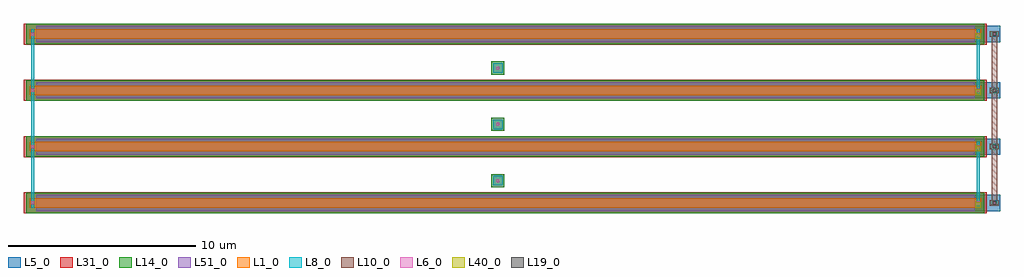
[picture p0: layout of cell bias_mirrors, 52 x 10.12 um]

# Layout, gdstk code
import gdstk
lib = gdstk.Library(unit=1e-6, precision=1e-09)
def R(c, l, rs):  # rectangles x0, y0, x1, y1
    for r in rs: c.add(gdstk.rectangle(r[:2], r[2:], *l))
def A(c, l, x, y, w, h, nx, ny, dx, dy):  # array of equal rectangles
    R(c, l, [(x+i*dx, y+j*dy, x+i*dx+w, y+j*dy+h) for i in range(nx) for j in range(ny)])
L1_0 = (1, 0)
L5_0 = (5, 0)
L6_0 = (6, 0)
L8_0 = (8, 0)
L10_0 = (10, 0)
L14_0 = (14, 0)
L19_0 = (19, 0)
L31_0 = (31, 0)
L40_0 = (40, 0)
L51_0 = (51, 0)

pmos_6_pm3 = lib.new_cell('pmos$6_PM3')
R(pmos_6_pm3, L1_0, [(0,0,0.3,0.3), (0,0,50.68,0.5), (50.38,0,50.68,0.3)])
R(pmos_6_pm3, L5_0, [(0.34,-0.18,50.34,0.68), (0.34,-0.18,50.34,0.68)])
R(pmos_6_pm3, L6_0, [(0.07,0.17,0.23,0.33), (50.45,0.17,50.61,0.33)])
R(pmos_6_pm3, L8_0, [(0.07,0,0.23,0.5), (0.07,0,0.23,0.5), (50.45,0,50.61,0.5), (50.45,0,50.61,0.5)])
R(pmos_6_pm3, L14_0, [(-0.18,-0.3,50.86,0.8)])
R(pmos_6_pm3, L31_0, [(-0.31,-0.31,50.99,0.81)])
R(pmos_6_pm3, L40_0, [(50.38,0,50.68,0.3)])
R(pmos_6_pm3, L51_0, [(0.34,-0.18,50.34,0.68)])
pmos_6_pm3.add(gdstk.Label('pmos', (25.34,0.25), layer=63, texttype=0))
pmos_6_pm3.add(gdstk.Label('pmos', (25.34,0.25), layer=51, texttype=0))

pmos_6_pm4 = lib.new_cell('pmos$6_PM4')
R(pmos_6_pm4, L1_0, [(0,0,0.3,0.3), (0,0,50.68,0.5), (50.38,0,50.68,0.3)])
R(pmos_6_pm4, L5_0, [(0.34,-0.18,50.34,0.68), (0.34,-0.18,50.34,0.68)])
R(pmos_6_pm4, L6_0, [(0.07,0.17,0.23,0.33), (50.45,0.17,50.61,0.33)])
R(pmos_6_pm4, L8_0, [(0.07,0,0.23,0.5), (0.07,0,0.23,0.5), (50.45,0,50.61,0.5), (50.45,0,50.61,0.5)])
R(pmos_6_pm4, L14_0, [(-0.18,-0.3,50.86,0.8)])
R(pmos_6_pm4, L31_0, [(-0.31,-0.31,50.99,0.81)])
R(pmos_6_pm4, L40_0, [(50.38,0,50.68,0.3)])
R(pmos_6_pm4, L51_0, [(0.34,-0.18,50.34,0.68)])
pmos_6_pm4.add(gdstk.Label('pmos', (25.34,0.25), layer=63, texttype=0))
pmos_6_pm4.add(gdstk.Label('pmos', (25.34,0.25), layer=51, texttype=0))

pmos_6_pm5 = lib.new_cell('pmos$6_PM5')
R(pmos_6_pm5, L1_0, [(0,0,0.3,0.3), (0,0,50.68,0.5), (50.38,0,50.68,0.3)])
R(pmos_6_pm5, L5_0, [(0.34,-0.18,50.34,0.68), (0.34,-0.18,50.34,0.68)])
R(pmos_6_pm5, L6_0, [(0.07,0.17,0.23,0.33), (50.45,0.17,50.61,0.33)])
R(pmos_6_pm5, L8_0, [(0.07,0,0.23,0.5), (0.07,0,0.23,0.5), (50.45,0,50.61,0.5), (50.45,0,50.61,0.5)])
R(pmos_6_pm5, L14_0, [(-0.18,-0.3,50.86,0.8)])
R(pmos_6_pm5, L31_0, [(-0.31,-0.31,50.99,0.81)])
R(pmos_6_pm5, L40_0, [(50.38,0,50.68,0.3)])
R(pmos_6_pm5, L51_0, [(0.34,-0.18,50.34,0.68)])
pmos_6_pm5.add(gdstk.Label('pmos', (25.34,0.25), layer=63, texttype=0))
pmos_6_pm5.add(gdstk.Label('pmos', (25.34,0.25), layer=51, texttype=0))

pmos_6_pm_ref = lib.new_cell('pmos$6_PM_ref')
R(pmos_6_pm_ref, L1_0, [(0,0,0.3,0.3), (0,0,50.68,0.5), (50.38,0,50.68,0.3)])
R(pmos_6_pm_ref, L5_0, [(0.34,-0.18,50.34,0.68), (0.34,-0.18,50.34,0.68)])
R(pmos_6_pm_ref, L6_0, [(0.07,0.17,0.23,0.33), (50.45,0.17,50.61,0.33)])
R(pmos_6_pm_ref, L8_0, [(0.07,0,0.23,0.5), (0.07,0,0.23,0.5), (50.45,0,50.61,0.5), (50.45,0,50.61,0.5)])
R(pmos_6_pm_ref, L14_0, [(-0.18,-0.3,50.86,0.8)])
R(pmos_6_pm_ref, L31_0, [(-0.31,-0.31,50.99,0.81)])
R(pmos_6_pm_ref, L40_0, [(50.38,0,50.68,0.3)])
R(pmos_6_pm_ref, L51_0, [(0.34,-0.18,50.34,0.68)])
pmos_6_pm_ref.add(gdstk.Label('pmos', (25.34,0.25), layer=63, texttype=0))
pmos_6_pm_ref.add(gdstk.Label('pmos', (25.34,0.25), layer=51, texttype=0))

bias_mirrors = lib.new_cell('bias_mirrors')
A(bias_mirrors, L1_0, 25, 1.5, 0.5, 0.5, 1, 3, 0, 3)
A(bias_mirrors, L5_0, 50.65, 0.13, 1.35, 0.86, 1, 4, 0, 3)
A(bias_mirrors, L6_0, 51.62, 0.48, 0.16, 0.16, 1, 4, 0, 3)
A(bias_mirrors, L6_0, 25.17, 1.67, 0.16, 0.16, 1, 3, 0, 3)
A(bias_mirrors, L8_0, 51.545, 0.405, 0.31, 0.31, 1, 4, 0, 3)
A(bias_mirrors, L8_0, 25, 1.5, 0.5, 0.5, 1, 3, 0, 3)
R(bias_mirrors, L8_0, [(0.38,0.31,0.54,9.81), (50.76,0.31,50.92,3.81), (50.76,6.31,50.92,9.81)])
A(bias_mirrors, L10_0, 51.46, 0.41, 0.48, 0.3, 1, 4, 0, 3)
R(bias_mirrors, L10_0, [(51.55,0.41,51.85,9.71)])
A(bias_mirrors, L14_0, 24.9, 1.4, 0.7, 0.7, 1, 3, 0, 3)
A(bias_mirrors, L19_0, 51.605, 0.465, 0.19, 0.19, 1, 4, 0, 3)
bias_mirrors.add(gdstk.Reference(pmos_6_pm3, (0.31,0.31)))
bias_mirrors.add(gdstk.Reference(pmos_6_pm4, (0.31,3.31)))
bias_mirrors.add(gdstk.Reference(pmos_6_pm5, (0.31,6.31)))
bias_mirrors.add(gdstk.Reference(pmos_6_pm_ref, (0.31,9.31)))

lib.write_gds('bias_mirrors.gds')
